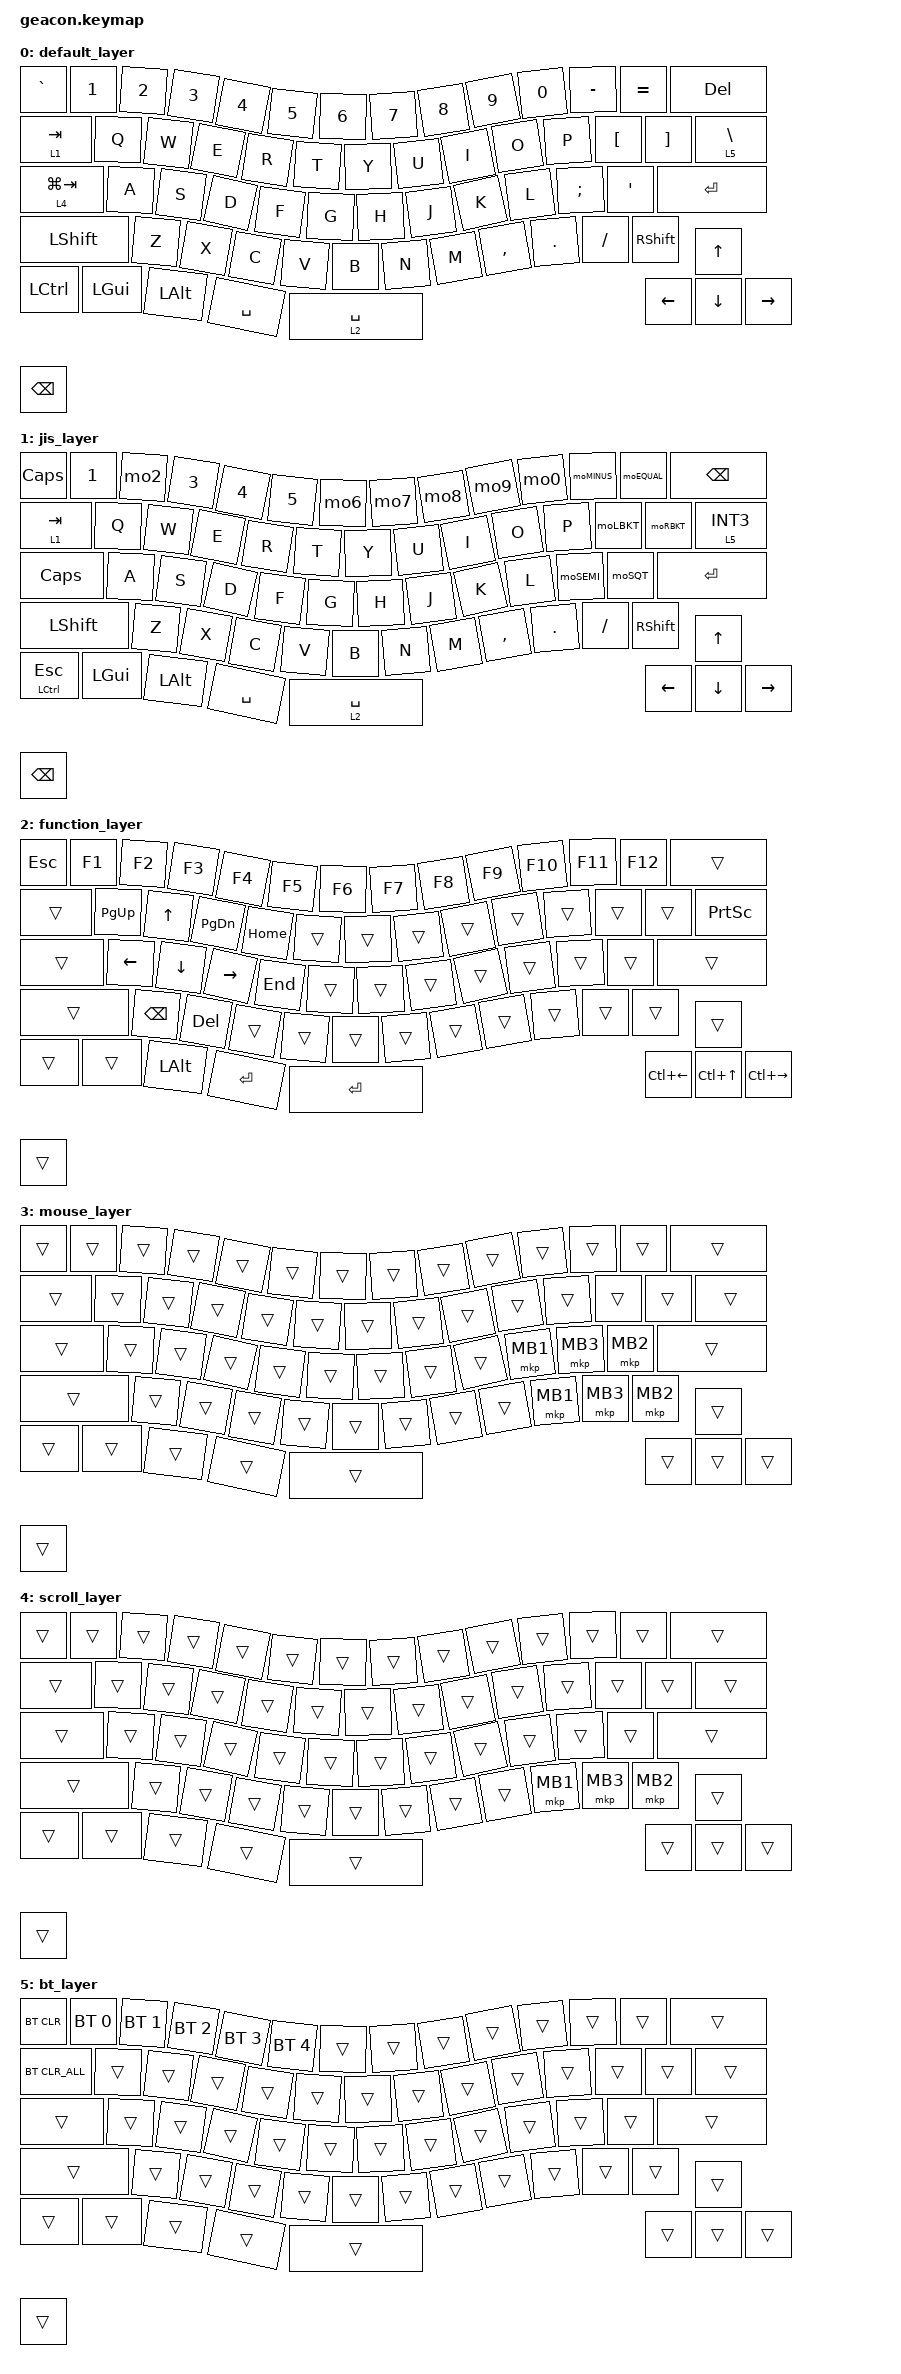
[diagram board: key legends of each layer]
#include <physical_layouts.dtsi>
#include <behaviors.dtsi>
#include <dt-bindings/zmk/bt.h>
#include <dt-bindings/zmk/keys.h>
#include <dt-bindings/zmk/pointing.h>

#define JIS 1
#define MOUSE 3
#define SCROLL 4
#define BT 5

&mt {
    flavor = "tap-preferred";
    quick_tap_ms = <125>;
    tapping_term_ms = <250>;
};

/ {
    chosen { zmk,physical-layout = &layout_US; };

    layout_US: layout_US {
        compatible = "zmk,physical-layout";
        display-name = "US";
        transform = <&default_transform>;
        kscan = <&kscan0>;
        keys =
            //                     w   h    x    y     rot    rx    ry,,
            <&key_physical_attrs 100 100    0    0       0     0     0>,
            <&key_physical_attrs 100 100  100    0       0     0     0>,
            <&key_physical_attrs 100 100  201    2     375   251    52>,
            <&key_physical_attrs 100 100  301   13     875   351    63>,
            <&key_physical_attrs 100 100  400   33    1125   450    83>,
            <&key_physical_attrs 100 100  499   48     625   549    98>,
            <&key_physical_attrs 100 100  600   54     125   650   104>,
            <&key_physical_attrs 100 100  701   52  (-375)   751   102>,
            <&key_physical_attrs 100 100  801   41  (-875)   851    91>,
            <&key_physical_attrs 100 100  900   22 (-1125)   950    72>,
            <&key_physical_attrs 100 100  999    7  (-625)  1049    57>,
            <&key_physical_attrs 100 100 1100    0  (-125)  1150    50>,
            <&key_physical_attrs 100 100 1200    0       0     0     0>,
            <&key_physical_attrs 200 100 1300    0       0     0     0>,
            <&key_physical_attrs 100 100    0  600       0     0     0>,
            <&key_physical_attrs 150 100    0  100       0     0     0>,
            <&key_physical_attrs 100 100  150  100     125   200   150>,
            <&key_physical_attrs 100 100  251  107     625   301   157>,
            <&key_physical_attrs 100 100  350  122    1125   400   172>,
            <&key_physical_attrs 100 100  449  141     875   499   191>,
            <&key_physical_attrs 100 100  549  152     375   599   202>,
            <&key_physical_attrs 100 100  650  154  (-125)   700   204>,
            <&key_physical_attrs 100 100  751  148  (-625)   801   198>,
            <&key_physical_attrs 100 100  850  133 (-1125)   900   183>,
            <&key_physical_attrs 100 100  949  113  (-875)   999   163>,
            <&key_physical_attrs 100 100 1049  102  (-375)  1099   152>,
            <&key_physical_attrs 100 100 1150  100       0     0     0>,
            <&key_physical_attrs 100 100 1250  100       0     0     0>,
            <&key_physical_attrs 150 100 1350  100       0     0     0>,
            <&key_physical_attrs 175 100    0  200       0     0     0>,
            <&key_physical_attrs 100 100  175  201     250   225   251>,
            <&key_physical_attrs 100 100  276  210     750   326   260>,
            <&key_physical_attrs 100 100  375  227    1250   425   277>,
            <&key_physical_attrs 100 100  474  245     750   524   295>,
            <&key_physical_attrs 100 100  575  254     250   625   304>,
            <&key_physical_attrs 100 100  675  254  (-250)   725   304>,
            <&key_physical_attrs 100 100  776  245  (-750)   826   295>,
            <&key_physical_attrs 100 100  875  227 (-1250)   925   277>,
            <&key_physical_attrs 100 100  974  210  (-750)  1024   260>,
            <&key_physical_attrs 100 100 1075  201  (-250)  1125   251>,
            <&key_physical_attrs 100 100 1175  200       0     0     0>,
            <&key_physical_attrs 225 100 1275  200       0     0     0>,
            <&key_physical_attrs 225 100    0  300       0     0     0>,
            <&key_physical_attrs 100 100  226  304     500   276   354>,
            <&key_physical_attrs 100 100  326  318    1000   376   368>,
            <&key_physical_attrs 100 100  424  337    1000   474   387>,
            <&key_physical_attrs 100 100  524  350     500   574   400>,
            <&key_physical_attrs 100 100  625  355       0     0     0>,
            <&key_physical_attrs 100 100  726  350  (-500)   776   400>,
            <&key_physical_attrs 100 100  826  337 (-1000)   876   387>,
            <&key_physical_attrs 100 100  924  318 (-1000)   974   368>,
            <&key_physical_attrs 100 100 1024  304  (-500)  1074   354>,
            <&key_physical_attrs 100 100 1125  300       0     0     0>,
            <&key_physical_attrs 100 100 1225  300       0     0     0>,
            <&key_physical_attrs 100 100 1350  325       0     0     0>,
            <&key_physical_attrs 125 100    0  400       0     0     0>,
            <&key_physical_attrs 125 100  125  400       0     0     0>,
            <&key_physical_attrs 125 100  253  409     700   316   459>,
            <&key_physical_attrs 150 100  382  435    1195   457   485>,
            <&key_physical_attrs 275 100  538  454       0     0     0>,
            <&key_physical_attrs 100 100 1250  425       0     0     0>,
            <&key_physical_attrs 100 100 1350  425       0     0     0>,
            <&key_physical_attrs 100 100 1450  425       0     0     0>;
    };

    layout_JIS: layout_JIS {
        compatible = "zmk,physical-layout";
        display-name = "JIS";
        transform = <&default_transform>;
        kscan = <&kscan0>;
        keys =
            //                    w   h    x    y     rot    rx    ry,,
            <&key_physical_attrs 100 100    0    0       0     0     0>,
            <&key_physical_attrs 100 100  100    0       0     0     0>,
            <&key_physical_attrs 100 100  201    2     375   251    52>,
            <&key_physical_attrs 100 100  301   13     875   351    63>,
            <&key_physical_attrs 100 100  400   33    1125   450    83>,
            <&key_physical_attrs 100 100  499   48     625   549    98>,
            <&key_physical_attrs 100 100  600   54     125   650   104>,
            <&key_physical_attrs 100 100  701   52  (-375)   751   102>,
            <&key_physical_attrs 100 100  801   41  (-875)   851    91>,
            <&key_physical_attrs 100 100  900   22 (-1125)   950    72>,
            <&key_physical_attrs 100 100  999    7  (-625)  1049    57>,
            <&key_physical_attrs 100 100 1100    0  (-125)  1150    50>,
            <&key_physical_attrs 100 100 1200    0       0     0     0>,
            <&key_physical_attrs 100 100 1300    0       0     0     0>,
            <&key_physical_attrs 100 100 1400    0       0     0     0>,
            <&key_physical_attrs 150 100    0  100       0     0     0>,
            <&key_physical_attrs 100 100  150  100     125   200   150>,
            <&key_physical_attrs 100 100  251  107     625   301   157>,
            <&key_physical_attrs 100 100  350  122    1125   400   172>,
            <&key_physical_attrs 100 100  449  141     875   499   191>,
            <&key_physical_attrs 100 100  549  152     375   599   202>,
            <&key_physical_attrs 100 100  650  154  (-125)   700   204>,
            <&key_physical_attrs 100 100  751  148  (-625)   801   198>,
            <&key_physical_attrs 100 100  850  133 (-1125)   900   183>,
            <&key_physical_attrs 100 100  949  113  (-875)   999   163>,
            <&key_physical_attrs 100 100 1049  102  (-375)  1099   152>,
            <&key_physical_attrs 100 100 1150  100       0     0     0>,
            <&key_physical_attrs 100 100 1250  100       0     0     0>,
            <&key_physical_attrs 150 200 1350  100       0     0     0>,
            <&key_physical_attrs 175 100    0  200       0     0     0>,
            <&key_physical_attrs 100 100  175  201     250   225   251>,
            <&key_physical_attrs 100 100  276  210     750   326   260>,
            <&key_physical_attrs 100 100  375  227    1250   425   277>,
            <&key_physical_attrs 100 100  474  245     750   524   295>,
            <&key_physical_attrs 100 100  575  254     250   625   304>,
            <&key_physical_attrs 100 100  675  254  (-250)   725   304>,
            <&key_physical_attrs 100 100  776  245  (-750)   826   295>,
            <&key_physical_attrs 100 100  875  227 (-1250)   925   277>,
            <&key_physical_attrs 100 100  974  210  (-750)  1024   260>,
            <&key_physical_attrs 100 100 1075  201  (-250)  1125   251>,
            <&key_physical_attrs 100 100 1175  200       0     0     0>,
            <&key_physical_attrs 100 100 1275  200       0     0     0>,
            <&key_physical_attrs 225 100    0  300       0     0     0>,
            <&key_physical_attrs 100 100  226  304     500   276   354>,
            <&key_physical_attrs 100 100  326  318    1000   376   368>,
            <&key_physical_attrs 100 100  424  337    1000   474   387>,
            <&key_physical_attrs 100 100  524  350     500   574   400>,
            <&key_physical_attrs 100 100  625  355       0     0     0>,
            <&key_physical_attrs 100 100  726  350  (-500)   776   400>,
            <&key_physical_attrs 100 100  826  337 (-1000)   876   387>,
            <&key_physical_attrs 100 100  924  318 (-1000)   974   368>,
            <&key_physical_attrs 100 100 1024  304  (-500)  1074   354>,
            <&key_physical_attrs 100 100 1125  300       0     0     0>,
            <&key_physical_attrs 100 100 1225  300       0     0     0>,
            <&key_physical_attrs 100 100 1350  325       0     0     0>,
            <&key_physical_attrs 125 100    0  400       0     0     0>,
            <&key_physical_attrs 125 100  125  400       0     0     0>,
            <&key_physical_attrs 125 100  253  409     700   316   459>,
            <&key_physical_attrs 150 100  382  435    1195   457   485>,
            <&key_physical_attrs 275 100  538  454       0     0     0>,
            <&key_physical_attrs 100 100 1250  425       0     0     0>,
            <&key_physical_attrs 100 100 1350  425       0     0     0>,
            <&key_physical_attrs 100 100 1450  425       0     0     0>;
    };

    position_map {
        compatible = "zmk,physical-layout-position-map";

        // complete;

        layout_US {
            physical-layout = <&layout_US>;
            positions =
                < 0  1  2  3  4  5  6  7  8  9 10 11 12 13 14>,
                <15 16 17 18 19 20 21 22 23 24 25 26 27 28   >,
                <29 30 31 32 33 34 35 36 37 38 39 40    41   >,
                <42 43 44 45 46 47 48 49 50 51 52 53    54   >,
                <55 56 57 58 59                      60 61 62>;
        };

        layout_JIS {
            physical-layout = <&layout_JIS>;
            positions =
                < 0  1  2  3  4  5  6  7  8  9 10 11 12 13 14>,
                <15 16 17 18 19 20 21 22 23 24 25 26 27 28   >,
                <29 30 31 32 33 34 35 36 37 38 39 40    41   >,
                <42 43 44 45 46 47 48 49 50 51 52 53    54   >,
                <55 56 57 58 59                      60 61 62>;
        };
    };

    behaviors {
        toJIS: toJIS {
            compatible = "zmk,behavior-hold-tap";
            label = "toJIS";
            #binding-cells = <2>;
            tapping-term-ms = <200>;
            quick-tap-ms = <0>;
            bindings = <&tog>, <&kp>;
        };

        mo2: mo2 {
            compatible = "zmk,behavior-mod-morph";
            #binding-cells = <0>;
            bindings = <&kp N2>, <&kp LBKT>;

            mods = <(MOD_LSFT|MOD_RSFT)>;
        };

        mo6: mo6 {
            compatible = "zmk,behavior-mod-morph";
            #binding-cells = <0>;
            bindings = <&kp N6>, <&kp EQUAL>;

            mods = <(MOD_LSFT|MOD_RSFT)>;
        };

        mo7: mo7 {
            compatible = "zmk,behavior-mod-morph";
            #binding-cells = <0>;
            bindings = <&kp N7>, <&kp LS(N6)>;

            mods = <(MOD_LSFT|MOD_RSFT)>;
        };

        mo8: mo8 {
            compatible = "zmk,behavior-mod-morph";
            #binding-cells = <0>;
            bindings = <&kp N8>, <&kp LS(SQT)>;

            mods = <(MOD_LSFT|MOD_RSFT)>;
        };

        mo9: mo9 {
            compatible = "zmk,behavior-mod-morph";
            #binding-cells = <0>;
            bindings = <&kp N9>, <&kp LS(N8)>;

            mods = <(MOD_LSFT|MOD_RSFT)>;
        };

        mo0: mo0 {
            compatible = "zmk,behavior-mod-morph";
            #binding-cells = <0>;
            bindings = <&kp N0>, <&kp LS(N9)>;

            mods = <(MOD_LSFT|MOD_RSFT)>;
        };

        moMINUS: moMINUS {
            compatible = "zmk,behavior-mod-morph";
            #binding-cells = <0>;
            bindings = <&kp MINUS>, <&kp LS(INT_RO)>;

            mods = <(MOD_LSFT|MOD_RSFT)>;
        };

        moEQUAL: moEQUAL {
            compatible = "zmk,behavior-mod-morph";
            #binding-cells = <0>;
            bindings = <&kp LS(MINUS)>, <&kp COLON>;

            mods = <(MOD_LSFT|MOD_RSFT)>;
        };

        moLBKT: moLBKT {
            compatible = "zmk,behavior-mod-morph";
            #binding-cells = <0>;
            bindings = <&kp RBKT>, <&kp LS(RBRC)>;

            mods = <(MOD_LSFT|MOD_RSFT)>;
        };

        moRBKT: moRBKT {
            compatible = "zmk,behavior-mod-morph";
            #binding-cells = <0>;
            bindings = <&kp BSLH>, <&kp LS(BSLH)>;

            mods = <(MOD_LSFT|MOD_RSFT)>;
        };

        moSEMI: moSEMI {
            compatible = "zmk,behavior-mod-morph";
            #binding-cells = <0>;
            bindings = <&kp SEMI>, <&kp SQT>;

            mods = <(MOD_LSFT|MOD_RSFT)>;
        };

        moSQT: moSQT {
            compatible = "zmk,behavior-mod-morph";
            #binding-cells = <0>;
            bindings = <&kp LS(N7)>, <&kp LS(N2)>;

            mods = <(MOD_LSFT|MOD_RSFT)>;
        };

        moGRAVE: moGRAVE {
            compatible = "zmk,behavior-mod-morph";
            #binding-cells = <0>;
            bindings = <&kp LS(LBRC)>, <&kp LS(EQUAL)>;

            mods = <(MOD_LSFT|MOD_RSFT)>;
        };
    };

    keymap {
        compatible = "zmk,keymap";

        default_layer {
            bindings = <
&kp GRAVE         &kp N1    &kp N2    &kp N3     &kp N4       &kp N5    &kp N6    &kp N7     &kp N8     &kp N9   &kp N0    &kp MINUS  &kp EQUAL  &kp DEL     &kp BACKSPACE
&toJIS 1 TAB      &kp Q     &kp W     &kp E      &kp R        &kp T     &kp Y     &kp U      &kp I      &kp O    &kp P     &kp LBKT   &kp RBKT   &lt 5 BSLH
&lt 4 LG(TAB)     &kp A     &kp S     &kp D      &kp F        &kp G     &kp H     &kp J      &kp K      &kp L    &kp SEMI  &kp SQT    &kp ENTER
&kp LSHFT         &kp Z     &kp X     &kp C      &kp V        &kp B     &kp N     &kp M      &kp COMMA  &kp DOT  &kp FSLH  &kp RSHFT  &kp UP
&kp LEFT_CONTROL  &kp LGUI  &kp LALT  &kp SPACE  &lt 2 SPACE  &kp LEFT  &kp DOWN  &kp RIGHT
            >;
        };

        jis_layer {
            bindings = <
&kp CAPS      &kp N1    &mo2      &kp N3     &kp N4       &kp N5    &mo6      &mo7       &mo8       &mo9     &mo0      &moMINUS   &moEQUAL   &kp BKSP    &kp BKSP
&toJIS 1 TAB  &kp Q     &kp W     &kp E      &kp R        &kp T     &kp Y     &kp U      &kp I      &kp O    &kp P     &moLBKT    &moRBKT    &lt 5 INT3
&kp CAPS      &kp A     &kp S     &kp D      &kp F        &kp G     &kp H     &kp J      &kp K      &kp L    &moSEMI   &moSQT     &kp ENTER
&kp LSHFT     &kp Z     &kp X     &kp C      &kp V        &kp B     &kp N     &kp M      &kp COMMA  &kp DOT  &kp FSLH  &kp RSHFT  &kp UP
&mt LCTL ESC  &kp LGUI  &kp LALT  &kp SPACE  &lt 2 SPACE  &kp LEFT  &kp DOWN  &kp RIGHT
            >;
        };

        function_layer {
            bindings = <
&kp ESCAPE  &kp F1     &kp F2    &kp F3     &kp F4     &kp F5              &kp F6            &kp F7               &kp F8  &kp F9  &kp F10  &kp F11  &kp F12  &trans     &trans
&trans      &kp PG_UP  &kp UP    &kp PG_DN  &kp HOME   &trans              &trans            &trans               &trans  &trans  &trans   &trans   &trans   &kp PSCRN
&trans      &kp LEFT   &kp DOWN  &kp RIGHT  &kp END    &trans              &trans            &trans               &trans  &trans  &trans   &trans   &trans
&trans      &kp BKSP   &kp DEL   &trans     &trans     &trans              &trans            &trans               &trans  &trans  &trans   &trans   &trans
&trans      &trans     &kp LALT  &kp ENTER  &kp ENTER  &kp LC(LEFT_ARROW)  &kp LC(UP_ARROW)  &kp LC(RIGHT_ARROW)
            >;
        };

        mouse_layer {
            bindings = <
&trans  &trans  &trans  &trans  &trans  &trans  &trans  &trans  &trans  &trans    &trans    &trans    &trans  &trans  &trans
&trans  &trans  &trans  &trans  &trans  &trans  &trans  &trans  &trans  &trans    &trans    &trans    &trans  &trans
&trans  &trans  &trans  &trans  &trans  &trans  &trans  &trans  &trans  &mkp MB1  &mkp MB3  &mkp MB2  &trans
&trans  &trans  &trans  &trans  &trans  &trans  &trans  &trans  &trans  &mkp MB1  &mkp MB3  &mkp MB2  &trans
&trans  &trans  &trans  &trans  &trans  &trans  &trans  &trans
            >;
        };

        scroll_layer {
            bindings = <
&trans  &trans  &trans  &trans  &trans  &trans  &trans  &trans  &trans  &trans    &trans    &trans    &trans  &trans  &trans
&trans  &trans  &trans  &trans  &trans  &trans  &trans  &trans  &trans  &trans    &trans    &trans    &trans  &trans
&trans  &trans  &trans  &trans  &trans  &trans  &trans  &trans  &trans  &trans    &trans    &trans    &trans
&trans  &trans  &trans  &trans  &trans  &trans  &trans  &trans  &trans  &mkp MB1  &mkp MB3  &mkp MB2  &trans
&trans  &trans  &trans  &trans  &trans  &trans  &trans  &trans
            >;
        };

        bt_layer {
            bindings = <
&bt BT_CLR      &bt BT_SEL 0  &bt BT_SEL 1  &bt BT_SEL 2  &bt BT_SEL 3  &bt BT_SEL 4  &trans  &trans  &trans  &trans  &trans  &trans  &trans  &trans  &trans
&bt BT_CLR_ALL  &trans        &trans        &trans        &trans        &trans        &trans  &trans  &trans  &trans  &trans  &trans  &trans  &trans
&trans          &trans        &trans        &trans        &trans        &trans        &trans  &trans  &trans  &trans  &trans  &trans  &trans
&trans          &trans        &trans        &trans        &trans        &trans        &trans  &trans  &trans  &trans  &trans  &trans  &trans
&trans          &trans        &trans        &trans        &trans        &trans        &trans  &trans
            >;
        };
    };
};
